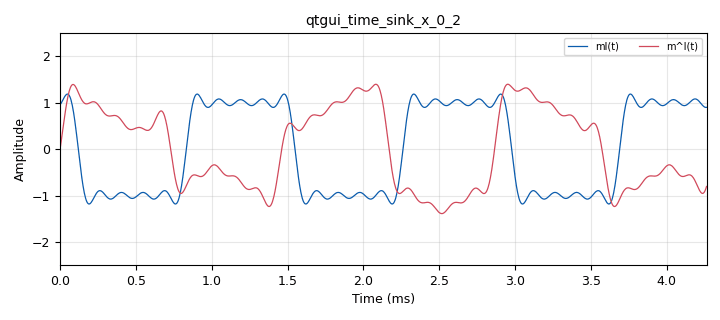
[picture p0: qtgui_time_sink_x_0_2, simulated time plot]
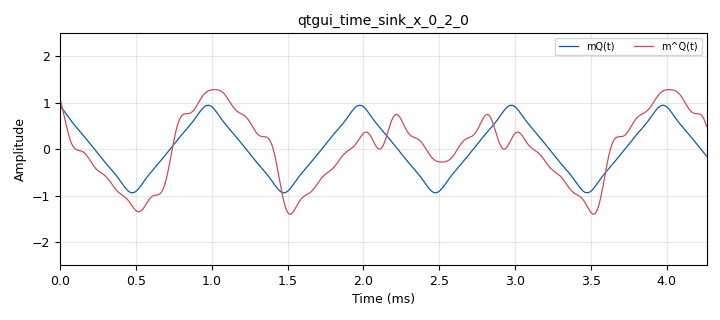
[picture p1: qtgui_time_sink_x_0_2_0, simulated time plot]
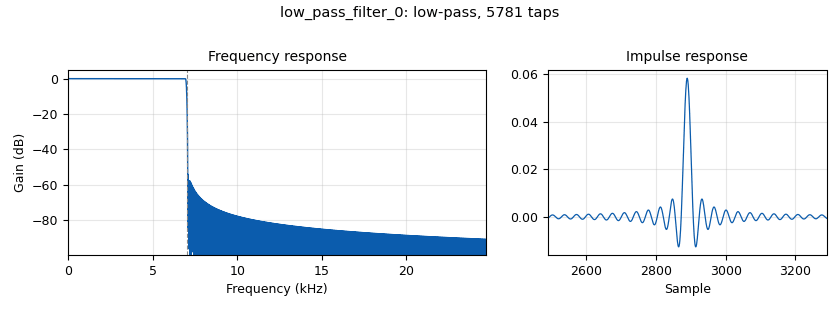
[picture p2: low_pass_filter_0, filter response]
<?xml version='1.0' encoding='utf-8'?>
<?grc format='1' created='3.7.9'?>
<flow_graph>
<block>
<key>options</key>
<param><key>id</key><value>top_block</value></param>
<param><key>category</key><value>Custom</value></param>
<param><key>generate_options</key><value>qt_gui</value></param>
</block>
<block>
<key>variable</key>
<param><key>id</key><value>samp_rate</value></param>
<param><key>value</key><value>240000</value></param>
</block>
<block>
<key>analog_sig_source_x</key>
<param><key>id</key><value>analog_sig_source_x_0</value></param>
<param><key>amp</key><value>7</value></param>
<param><key>freq</key><value>10000</value></param>
<param><key>offset</key><value>0</value></param>
<param><key>type</key><value>float</value></param>
<param><key>samp_rate</key><value>samp_rate</value></param>
<param><key>waveform</key><value>analog.GR_COS_WAVE</value></param>
</block>
<block>
<key>analog_sig_source_x</key>
<param><key>id</key><value>analog_sig_source_x_0_0</value></param>
<param><key>amp</key><value>0.285714286</value></param>
<param><key>freq</key><value>10000</value></param>
<param><key>offset</key><value>0</value></param>
<param><key>type</key><value>float</value></param>
<param><key>samp_rate</key><value>samp_rate</value></param>
<param><key>waveform</key><value>analog.GR_COS_WAVE</value></param>
</block>
<block>
<key>analog_sig_source_x</key>
<param><key>id</key><value>analog_sig_source_x_1</value></param>
<param><key>amp</key><value>7</value></param>
<param><key>freq</key><value>10000</value></param>
<param><key>offset</key><value>0</value></param>
<param><key>type</key><value>float</value></param>
<param><key>samp_rate</key><value>samp_rate</value></param>
<param><key>waveform</key><value>analog.GR_SIN_WAVE</value></param>
</block>
<block>
<key>analog_sig_source_x</key>
<param><key>id</key><value>analog_sig_source_x_1_0</value></param>
<param><key>amp</key><value>0.285714286</value></param>
<param><key>freq</key><value>10000</value></param>
<param><key>offset</key><value>0</value></param>
<param><key>type</key><value>float</value></param>
<param><key>samp_rate</key><value>samp_rate</value></param>
<param><key>waveform</key><value>analog.GR_SIN_WAVE</value></param>
</block>
<block>
<key>analog_sig_source_x</key>
<param><key>id</key><value>analog_sig_source_x_1_1</value></param>
<param><key>amp</key><value>2</value></param>
<param><key>freq</key><value>1000</value></param>
<param><key>offset</key><value>-1</value></param>
<param><key>type</key><value>float</value></param>
<param><key>samp_rate</key><value>samp_rate</value></param>
<param><key>waveform</key><value>analog.GR_TRI_WAVE</value></param>
</block>
<block>
<key>analog_sig_source_x</key>
<param><key>id</key><value>analog_sig_source_x_1_2</value></param>
<param><key>amp</key><value>2</value></param>
<param><key>freq</key><value>700</value></param>
<param><key>offset</key><value>-1</value></param>
<param><key>type</key><value>float</value></param>
<param><key>samp_rate</key><value>samp_rate</value></param>
<param><key>waveform</key><value>analog.GR_SQR_WAVE</value></param>
</block>
<block>
<key>blocks_add_xx</key>
<param><key>id</key><value>blocks_add_xx_0</value></param>
<param><key>type</key><value>float</value></param>
</block>
<block>
<key>blocks_delay</key>
<param><key>id</key><value>blocks_delay_0</value></param>
<param><key>delay</key><value>2</value></param>
<param><key>type</key><value>float</value></param>
</block>
<block>
<key>blocks_delay</key>
<param><key>id</key><value>blocks_delay_0_0</value></param>
<param><key>delay</key><value>2</value></param>
<param><key>type</key><value>float</value></param>
</block>
<block>
<key>blocks_multiply_xx</key>
<param><key>id</key><value>blocks_multiply_xx_0</value></param>
<param><key>type</key><value>float</value></param>
</block>
<block>
<key>blocks_multiply_xx</key>
<param><key>id</key><value>blocks_multiply_xx_0_0</value></param>
<param><key>type</key><value>float</value></param>
</block>
<block>
<key>blocks_multiply_xx</key>
<param><key>id</key><value>blocks_multiply_xx_0_0_0</value></param>
<param><key>type</key><value>float</value></param>
</block>
<block>
<key>blocks_multiply_xx</key>
<param><key>id</key><value>blocks_multiply_xx_0_1</value></param>
<param><key>type</key><value>float</value></param>
</block>
<block>
<key>low_pass_filter</key>
<param><key>id</key><value>low_pass_filter_0</value></param>
<param><key>cutoff_freq</key><value>7000</value></param>
<param><key>decim</key><value>1</value></param>
<param><key>type</key><value>fir_filter_fff</value></param>
<param><key>gain</key><value>1</value></param>
<param><key>samp_rate</key><value>samp_rate</value></param>
<param><key>width</key><value>100</value></param>
<param><key>win</key><value>firdes.WIN_HAMMING</value></param>
</block>
<block>
<key>low_pass_filter</key>
<param><key>id</key><value>low_pass_filter_0_0</value></param>
<param><key>cutoff_freq</key><value>7000</value></param>
<param><key>decim</key><value>1</value></param>
<param><key>type</key><value>fir_filter_fff</value></param>
<param><key>gain</key><value>1</value></param>
<param><key>samp_rate</key><value>samp_rate</value></param>
<param><key>width</key><value>100</value></param>
<param><key>win</key><value>firdes.WIN_HAMMING</value></param>
</block>
<block>
<key>low_pass_filter</key>
<param><key>id</key><value>low_pass_filter_0_0_0</value></param>
<param><key>cutoff_freq</key><value>7000</value></param>
<param><key>decim</key><value>1</value></param>
<param><key>type</key><value>fir_filter_fff</value></param>
<param><key>gain</key><value>1</value></param>
<param><key>samp_rate</key><value>samp_rate</value></param>
<param><key>width</key><value>100</value></param>
<param><key>win</key><value>firdes.WIN_HAMMING</value></param>
</block>
<block>
<key>low_pass_filter</key>
<param><key>id</key><value>low_pass_filter_0_1</value></param>
<param><key>cutoff_freq</key><value>7000</value></param>
<param><key>decim</key><value>1</value></param>
<param><key>type</key><value>fir_filter_fff</value></param>
<param><key>gain</key><value>1</value></param>
<param><key>samp_rate</key><value>samp_rate</value></param>
<param><key>width</key><value>100</value></param>
<param><key>win</key><value>firdes.WIN_HAMMING</value></param>
</block>
<block>
<key>qtgui_time_sink_x</key>
<param><key>id</key><value>qtgui_time_sink_x_0_2</value></param>
<param><key>ctrlpanel</key><value>True</value></param>
<param><key>grid</key><value>True</value></param>
<param><key>color1</key><value>"dark red"</value></param>
<param><key>label1</key><value>mI(t)</value></param>
<param><key>style1</key><value>2</value></param>
<param><key>color2</key><value>"blue"</value></param>
<param><key>label2</key><value>m^I(t)</value></param>
<param><key>nconnections</key><value>2</value></param>
<param><key>size</key><value>1024</value></param>
<param><key>srate</key><value>samp_rate</value></param>
<param><key>type</key><value>float</value></param>
<param><key>ymax</key><value>2.5</value></param>
<param><key>ymin</key><value>-2.5</value></param>
</block>
<block>
<key>qtgui_time_sink_x</key>
<param><key>id</key><value>qtgui_time_sink_x_0_2_0</value></param>
<param><key>ctrlpanel</key><value>True</value></param>
<param><key>grid</key><value>True</value></param>
<param><key>color1</key><value>"dark red"</value></param>
<param><key>label1</key><value>mQ(t)</value></param>
<param><key>style1</key><value>2</value></param>
<param><key>color2</key><value>"blue"</value></param>
<param><key>label2</key><value>m^Q(t)</value></param>
<param><key>nconnections</key><value>2</value></param>
<param><key>size</key><value>1024</value></param>
<param><key>srate</key><value>samp_rate</value></param>
<param><key>type</key><value>float</value></param>
<param><key>ymax</key><value>2.5</value></param>
<param><key>ymin</key><value>-2.5</value></param>
</block>
<connection><source_block_id>analog_sig_source_x_0</source_block_id><sink_block_id>blocks_multiply_xx_0</sink_block_id><source_key>0</source_key><sink_key>0</sink_key></connection>
<connection><source_block_id>analog_sig_source_x_0_0</source_block_id><sink_block_id>blocks_delay_0</sink_block_id><source_key>0</source_key><sink_key>0</sink_key></connection>
<connection><source_block_id>analog_sig_source_x_1</source_block_id><sink_block_id>blocks_multiply_xx_0_0</sink_block_id><source_key>0</source_key><sink_key>1</sink_key></connection>
<connection><source_block_id>analog_sig_source_x_1_0</source_block_id><sink_block_id>blocks_delay_0_0</sink_block_id><source_key>0</source_key><sink_key>0</sink_key></connection>
<connection><source_block_id>analog_sig_source_x_1_1</source_block_id><sink_block_id>low_pass_filter_0_0_0</sink_block_id><source_key>0</source_key><sink_key>0</sink_key></connection>
<connection><source_block_id>analog_sig_source_x_1_2</source_block_id><sink_block_id>low_pass_filter_0_1</sink_block_id><source_key>0</source_key><sink_key>0</sink_key></connection>
<connection><source_block_id>blocks_add_xx_0</source_block_id><sink_block_id>blocks_multiply_xx_0_0_0</sink_block_id><source_key>0</source_key><sink_key>0</sink_key></connection>
<connection><source_block_id>blocks_add_xx_0</source_block_id><sink_block_id>blocks_multiply_xx_0_1</sink_block_id><source_key>0</source_key><sink_key>1</sink_key></connection>
<connection><source_block_id>blocks_delay_0</source_block_id><sink_block_id>blocks_multiply_xx_0_1</sink_block_id><source_key>0</source_key><sink_key>0</sink_key></connection>
<connection><source_block_id>blocks_delay_0_0</source_block_id><sink_block_id>blocks_multiply_xx_0_0_0</sink_block_id><source_key>0</source_key><sink_key>1</sink_key></connection>
<connection><source_block_id>blocks_multiply_xx_0</source_block_id><sink_block_id>blocks_add_xx_0</sink_block_id><source_key>0</source_key><sink_key>0</sink_key></connection>
<connection><source_block_id>blocks_multiply_xx_0_0</source_block_id><sink_block_id>blocks_add_xx_0</sink_block_id><source_key>0</source_key><sink_key>1</sink_key></connection>
<connection><source_block_id>blocks_multiply_xx_0_0_0</source_block_id><sink_block_id>low_pass_filter_0_0</sink_block_id><source_key>0</source_key><sink_key>0</sink_key></connection>
<connection><source_block_id>blocks_multiply_xx_0_1</source_block_id><sink_block_id>low_pass_filter_0</sink_block_id><source_key>0</source_key><sink_key>0</sink_key></connection>
<connection><source_block_id>low_pass_filter_0</source_block_id><sink_block_id>qtgui_time_sink_x_0_2</sink_block_id><source_key>0</source_key><sink_key>1</sink_key></connection>
<connection><source_block_id>low_pass_filter_0_0</source_block_id><sink_block_id>qtgui_time_sink_x_0_2_0</sink_block_id><source_key>0</source_key><sink_key>1</sink_key></connection>
<connection><source_block_id>low_pass_filter_0_0_0</source_block_id><sink_block_id>blocks_multiply_xx_0_0</sink_block_id><source_key>0</source_key><sink_key>0</sink_key></connection>
<connection><source_block_id>low_pass_filter_0_0_0</source_block_id><sink_block_id>qtgui_time_sink_x_0_2_0</sink_block_id><source_key>0</source_key><sink_key>0</sink_key></connection>
<connection><source_block_id>low_pass_filter_0_1</source_block_id><sink_block_id>blocks_multiply_xx_0</sink_block_id><source_key>0</source_key><sink_key>1</sink_key></connection>
<connection><source_block_id>low_pass_filter_0_1</source_block_id><sink_block_id>qtgui_time_sink_x_0_2</sink_block_id><source_key>0</source_key><sink_key>0</sink_key></connection>
</flow_graph>
